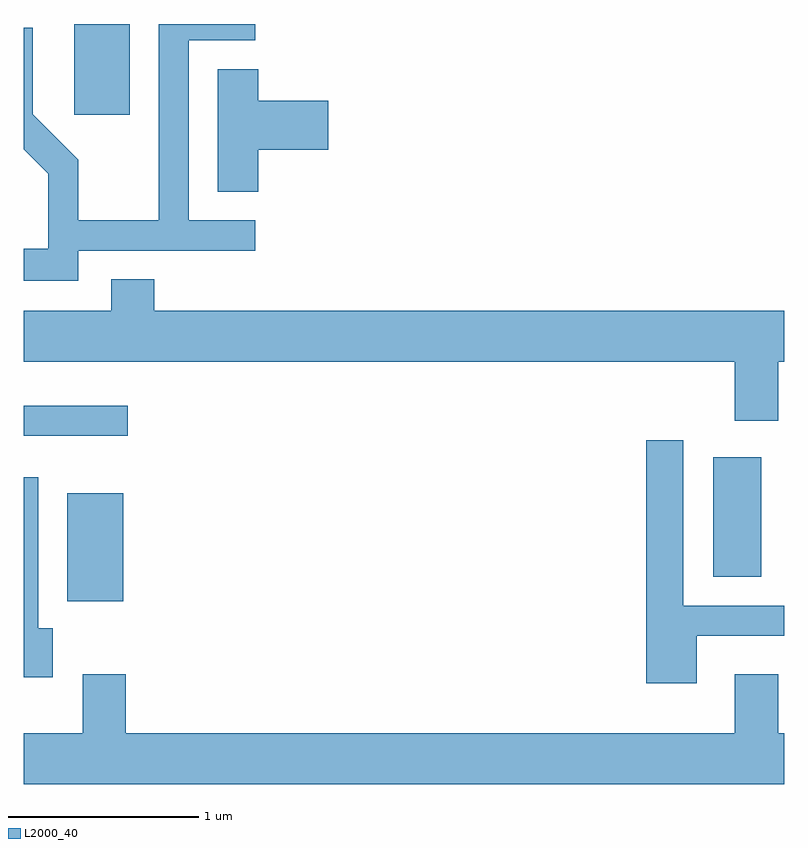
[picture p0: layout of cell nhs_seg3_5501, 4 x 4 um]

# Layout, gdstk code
import gdstk
lib = gdstk.Library(unit=1e-6, precision=1e-09)
def R(c, l, rs):  # rectangles x0, y0, x1, y1
    for r in rs: c.add(gdstk.rectangle(r[:2], r[2:], *l))
def P(c, l, *ps):  # polygons
    for p in ps: c.add(gdstk.Polygon(p, *l))
L2000_40 = (2000, 40)

nhs_seg3_5501 = lib.new_cell('nhs_seg3_5501')
R(nhs_seg3_5501, L2000_40, [(345.841,1246.856,346.134,1247.424), (349.236,1246.986,349.489,1247.614), (345.611,1247.726,346.158,1247.884), (345.876,1249.416,346.169,1249.892)])
P(nhs_seg3_5501, L2000_40, [(345.899,1248.701),(346.828,1248.701),(346.828,1248.859),(346.479,1248.859),(346.479,1249.806),(346.828,1249.806),(346.828,1249.892),(346.321,1249.892),(346.321,1248.859),(345.899,1248.859),(345.899,1249.177),(345.659,1249.417),(345.659,1249.873),(345.611,1249.873),(345.611,1249.234),(345.741,1249.104),(345.741,1248.709),(345.611,1248.709),(345.611,1248.541),(345.899,1248.541)],
  [(346.844,1249.231),(347.214,1249.231),(347.214,1249.489),(346.844,1249.489),(346.844,1249.654),(346.631,1249.654),(346.631,1249.011),(346.844,1249.011)],
  [(349.579,1248.116),(349.611,1248.116),(349.611,1248.384),(346.299,1248.384),(346.299,1248.549),(346.071,1248.549),(346.071,1248.384),(345.611,1248.384),(345.611,1248.116),(349.351,1248.116),(349.351,1247.806),(349.579,1247.806)],
  [(349.149,1246.676),(349.611,1246.676),(349.611,1246.834),(349.079,1246.834),(349.079,1247.704),(348.886,1247.704),(348.886,1246.426),(349.149,1246.426)],
  [(345.764,1246.714),(345.689,1246.714),(345.689,1247.509),(345.611,1247.509),(345.611,1246.456),(345.764,1246.456)],
  [(349.611,1246.164),(349.579,1246.164),(349.579,1246.474),(349.351,1246.474),(349.351,1246.164),(346.149,1246.164),(346.149,1246.474),(345.921,1246.474),(345.921,1246.164),(345.611,1246.164),(345.611,1245.896),(349.611,1245.896)])

lib.write_gds('nhs_seg3_5501.gds')
